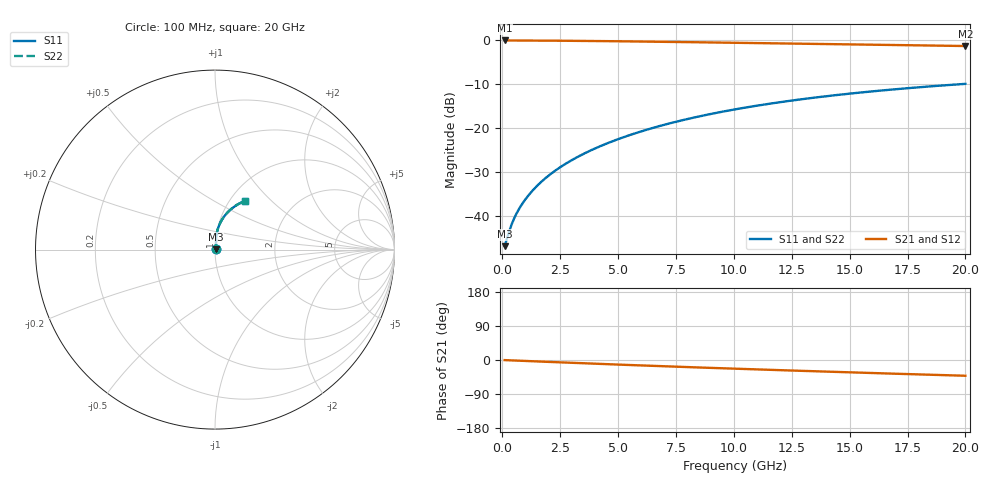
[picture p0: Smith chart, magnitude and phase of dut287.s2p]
! Touchstone file exported from HFSS 2024.1.0
!  File:  C:/UserFiles/LocalFiles/RDL_TSV_Batchsim/temp_RDL_bottom_287_1778703235.aedt
!  Generated:  04:16:25 AM May 14, 2026
!  Design:  RDL_bottom
!  Project:  temp_RDL_bottom_287_1778703235
!  Setup:  Setup1
!  Solution:  Sweep
! Variables:
!  dtsv = 10.80580581um
!  hbump = 3um
!  htsv = 56um
!  ldown = 643.5um
!  lrdl = 100um
!  p = 40
!  p1 = 41.47um
!  rhole = 1um
!  t = 450um
!  tdown = 2.49um
!  trdl = 3.915915916um
!  wdown = 23.76um
!  wrdl = 20um
# GHz S MA R 50.000000
! Terminal data exported
! Port[1] = RDL1_T1
! Port[2] = RDL1_T2
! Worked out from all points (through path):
!   200 points, 100 MHz to 20 GHz, reference 50 ohm
!   highest |S21| = -0.04 dB at 100 MHz (marker M1); lowest = -1.3 dB at 20 GHz (marker M2)
!   group delay of S21, straight-line fit = 5.72 ps
!   lowest |S11| = -47.0 dB at 100 MHz (marker M3), VSWR 1.01, Z = 50.4 + j0.17 ohm
!   |S11| at or under -10 dB: start of sweep to 19.82 GHz
!   |S22| runs from -47.0 to -9.9 dB; largest |S21 - S12| = 3.6e-15
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0.1  0.004474 22.2  0.9958 -0.3  0.9958 -0.3  0.004474 22.2
! Gamma 0 0 0 0
! Port Impedance 50 0 50 0
0.3  0.006628 47.0  0.9954 -0.8  0.9954 -0.8  0.006628 47.0
0.4  0.007881 53.1  0.9951 -1.1  0.9951 -1.1  0.007881 53.1
0.6  0.01038 60.7  0.9946 -1.6  0.9946 -1.6  0.01037 60.7
0.7  0.01161 63.4  0.9943 -1.8  0.9943 -1.8  0.01161 63.4
0.9  0.01409 67.6  0.9938 -2.3  0.9938 -2.3  0.01409 67.6
1.2  0.01789 72.2  0.9931 -3.0  0.9931 -3.0  0.01789 72.2
1.4  0.02049 74.4  0.9926 -3.5  0.9926 -3.5  0.02049 74.4
1.7  0.02447 77.0  0.9917 -4.3  0.9917 -4.3  0.02447 77.0
2.2  0.03135 80.0  0.99 -5.5  0.99 -5.5  0.03135 80.0
2.8  0.03995 82.2  0.9875 -6.9  0.9875 -6.9  0.03995 82.2
3.5  0.05044 83.6  0.984 -8.6  0.984 -8.6  0.05045 83.6
4.2  0.0614 84.2  0.98 -10.3  0.98 -10.3  0.06142 84.3
5  0.07443 84.4  0.9749 -12.1  0.9749 -12.1  0.07446 84.4
5.9  0.08962 83.9  0.9687 -14.1  0.9687 -14.1  0.08966 84.0
6.8  0.1052 83.0  0.9622 -16.1  0.9622 -16.1  0.1053 83.1
8.4  0.1336 80.7  0.95 -19.5  0.95 -19.5  0.1336 80.7
10.1  0.1637 77.6  0.9367 -23.1  0.9367 -23.1  0.1639 77.7
11.7  0.1916 74.5  0.9241 -26.2  0.9241 -26.2  0.1918 74.6
13.4  0.2203 71.1  0.9107 -29.5  0.9107 -29.5  0.2206 71.2
16.7  0.2723 64.5  0.8852 -35.7  0.8852 -35.7  0.2726 64.6
20  0.3185 58.1  0.8604 -41.6  0.8604 -41.6  0.3189 58.3
